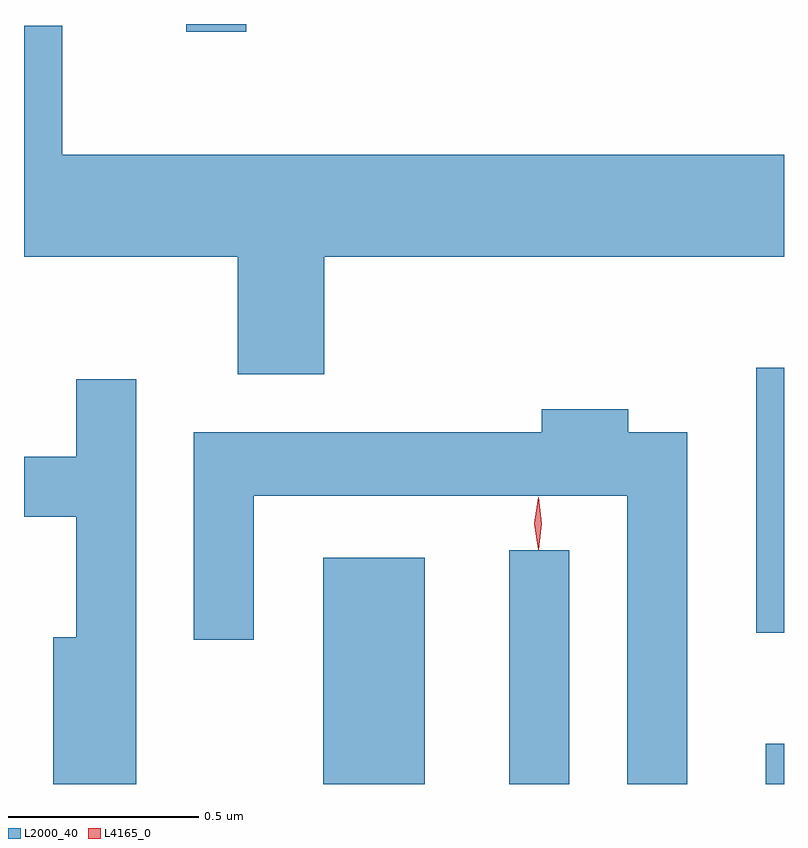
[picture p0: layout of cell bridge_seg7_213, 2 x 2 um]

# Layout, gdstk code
import gdstk
lib = gdstk.Library(unit=1e-6, precision=1e-09)
def R(c, l, rs):  # rectangles x0, y0, x1, y1
    for r in rs: c.add(gdstk.rectangle(r[:2], r[2:], *l))
def P(c, l, *ps):  # polygons
    for p in ps: c.add(gdstk.Polygon(p, *l))
L2000_40 = (2000, 40)
L4165_0 = (4165, 0)

bridge_seg7_213 = lib.new_cell('bridge_seg7_213')
R(bridge_seg7_213, L2000_40, [(1497.686,1706.268,1497.954,1706.864), (1498.176,1706.268,1498.334,1706.883), (1498.851,1706.268,1498.899,1706.374), (1498.826,1706.666,1498.899,1707.364), (1497.326,1708.248,1497.484,1708.268)])
P(bridge_seg7_213, L2000_40, [(1497.689,1707.656),(1498.899,1707.656),(1498.899,1707.924),(1496.999,1707.924),(1496.999,1708.264),(1496.899,1708.264),(1496.899,1707.656),(1497.461,1707.656),(1497.461,1707.346),(1497.689,1707.346)],
  [(1497.194,1707.333),(1497.036,1707.333),(1497.036,1707.129),(1496.899,1707.129),(1496.899,1706.971),(1497.036,1706.971),(1497.036,1706.654),(1496.976,1706.654),(1496.976,1706.268),(1497.194,1706.268)],
  [(1498.644,1707.194),(1498.489,1707.194),(1498.489,1707.254),(1498.261,1707.254),(1498.261,1707.194),(1497.346,1707.194),(1497.346,1706.648),(1497.504,1706.648),(1497.504,1707.026),(1498.486,1707.026),(1498.486,1706.268),(1498.644,1706.268)])
P(bridge_seg7_213, L4165_0, [(1498.252,1706.887),(1498.252,1706.887),(1498.242,1706.954),(1498.252,1707.02),(1498.252,1707.02),(1498.252,1707.02),(1498.262,1706.954),(1498.253,1706.887)],
  [(1498.252,1706.884),(1498.252,1706.884),(1498.242,1706.953),(1498.252,1707.022),(1498.252,1707.023),(1498.253,1707.022),(1498.262,1706.953),(1498.253,1706.884)])

lib.write_gds('bridge_seg7_213.gds')
